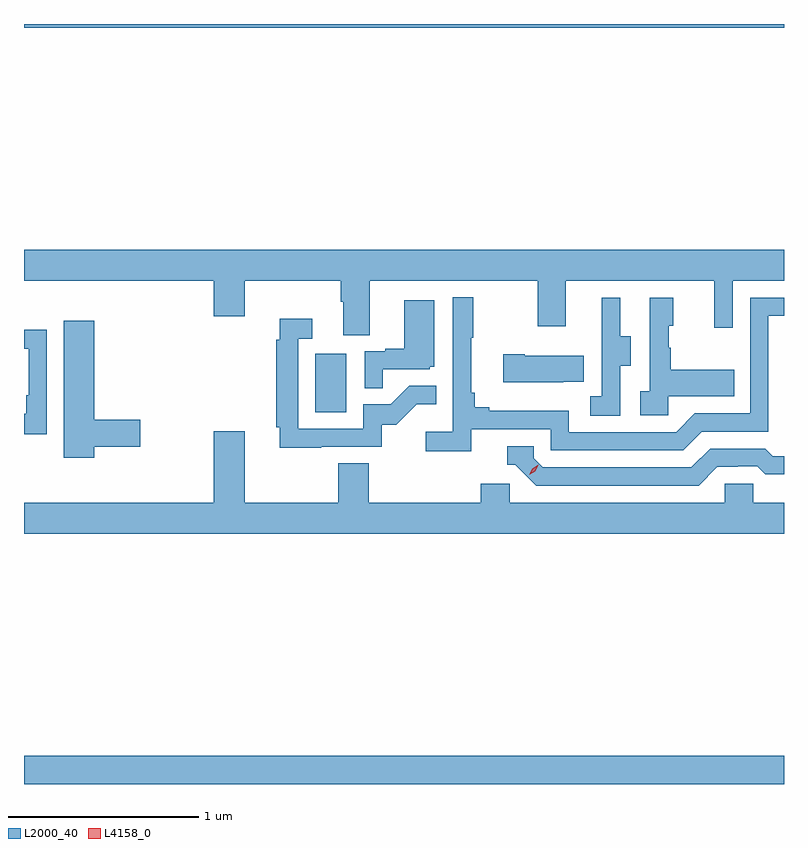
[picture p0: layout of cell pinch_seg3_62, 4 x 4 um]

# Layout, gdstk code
import gdstk
lib = gdstk.Library(unit=1e-6, precision=1e-09)
def R(c, l, rs):  # rectangles x0, y0, x1, y1
    for r in rs: c.add(gdstk.rectangle(r[:2], r[2:], *l))
def P(c, l, *ps):  # polygons
    for p in ps: c.add(gdstk.Polygon(p, *l))
L2000_40 = (2000, 40)
L4158_0 = (4158, 0)

pinch_seg3_62 = lib.new_cell('pinch_seg3_62')
R(pinch_seg3_62, L2000_40, [(1075.098,739.559,1079.098,739.708), (1076.63,741.516,1076.794,741.823), (1075.098,743.54,1079.098,743.559)])
P(pinch_seg3_62, L2000_40, [(1076.917,742.208),(1077.802,742.208),(1077.802,741.969),(1077.949,741.969),(1077.949,742.208),(1078.73,742.208),(1078.73,741.96),(1078.827,741.96),(1078.827,742.208),(1079.098,742.208),(1079.098,742.372),(1075.098,742.372),(1075.098,742.208),(1076.096,742.208),(1076.096,742.02),(1076.26,742.02),(1076.26,742.208),(1076.765,742.208),(1076.765,742.096),(1076.777,742.096),(1076.777,741.922),(1076.917,741.922)],
  [(1077.452,741.426),(1077.87,741.426),(1077.87,741.315),(1078.567,741.315),(1078.666,741.414),(1079.016,741.414),(1079.016,742.023),(1079.098,742.023),(1079.098,742.119),(1078.92,742.119),(1078.92,741.51),(1078.629,741.51),(1078.53,741.411),(1077.966,741.411),(1077.966,741.523),(1077.547,741.523),(1077.547,741.542),(1077.47,741.542),(1077.47,741.619),(1077.451,741.619),(1077.451,741.907),(1077.463,741.907),(1077.463,742.12),(1077.354,742.12),(1077.354,741.412),(1077.213,741.412),(1077.213,741.31),(1077.452,741.31)],
  [(1078.236,741.76),(1078.291,741.76),(1078.291,741.915),(1078.237,741.915),(1078.237,742.117),(1078.139,742.117),(1078.139,741.903),(1078.14,741.903),(1078.14,741.599),(1078.077,741.599),(1078.077,741.496),(1078.236,741.496)],
  [(1078.488,741.599),(1078.835,741.599),(1078.835,741.739),(1078.501,741.739),(1078.501,741.854),(1078.491,741.854),(1078.491,741.972),(1078.516,741.972),(1078.516,742.117),(1078.392,742.117),(1078.392,741.626),(1078.341,741.626),(1078.341,741.501),(1078.488,741.501)],
  [(1076.987,741.741),(1077.234,741.741),(1077.234,741.756),(1077.256,741.756),(1077.256,742.105),(1077.098,742.105),(1077.098,741.85),(1076.999,741.85),(1076.999,741.837),(1076.892,741.837),(1076.892,741.643),(1076.987,741.643)],
  [(1076.663,741.333),(1076.982,741.333),(1076.982,741.45),(1077.058,741.45),(1077.165,741.557),(1077.269,741.557),(1077.269,741.656),(1077.125,741.656),(1077.027,741.558),(1076.883,741.558),(1076.883,741.429),(1076.541,741.429),(1076.541,741.903),(1076.614,741.903),(1076.614,742.009),(1076.444,742.009),(1076.444,741.896),(1076.425,741.896),(1076.425,741.436),(1076.444,741.436),(1076.444,741.328),(1076.663,741.328)],
  [(1075.468,741.334),(1075.711,741.334),(1075.711,741.476),(1075.468,741.476),(1075.468,741.997),(1075.307,741.997),(1075.307,741.276),(1075.468,741.276)],
  [(1075.218,741.95),(1075.098,741.95),(1075.098,741.849),(1075.122,741.849),(1075.122,741.604),(1075.109,741.604),(1075.109,741.508),(1075.098,741.508),(1075.098,741.399),(1075.218,741.399)],
  [(1077.935,741.677),(1078.043,741.677),(1078.043,741.814),(1077.733,741.814),(1077.733,741.822),(1077.621,741.822),(1077.621,741.674),(1077.935,741.674)],
  [(1079.098,741.04),(1078.935,741.04),(1078.935,741.138),(1078.785,741.138),(1078.785,741.04),(1077.654,741.04),(1077.654,741.138),(1077.503,741.138),(1077.503,741.04),(1076.912,741.04),(1076.912,741.248),(1076.752,741.248),(1076.752,741.04),(1076.26,741.04),(1076.26,741.415),(1076.096,741.415),(1076.096,741.04),(1075.098,741.04),(1075.098,740.876),(1079.098,740.876)],
  [(1078.747,741.228),(1078.854,741.228),(1078.854,741.231),(1078.957,741.231),(1078.999,741.189),(1079.098,741.189),(1079.098,741.285),(1079.038,741.285),(1078.999,741.324),(1078.71,741.324),(1078.611,741.225),(1077.828,741.225),(1077.78,741.273),(1077.78,741.336),(1077.641,741.336),(1077.641,741.24),(1077.684,741.24),(1077.795,741.129),(1078.648,741.129)])
P(pinch_seg3_62, L4158_0, [(1077.758,741.186),(1077.758,741.186),(1077.774,741.219),(1077.804,741.239),(1077.804,741.239),(1077.804,741.238),(1077.788,741.206),(1077.758,741.186)])

lib.write_gds('pinch_seg3_62.gds')
